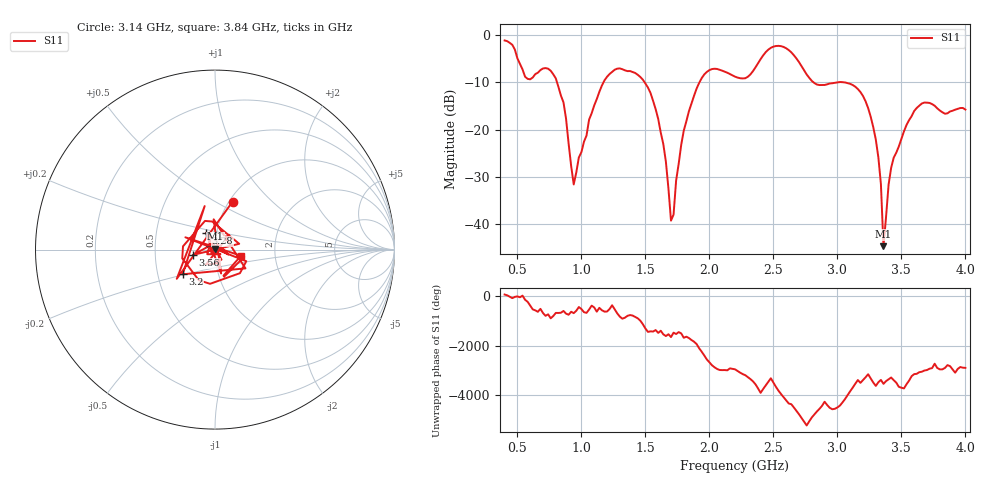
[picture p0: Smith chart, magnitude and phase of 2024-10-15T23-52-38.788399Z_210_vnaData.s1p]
! Created with skrf (http://scikit-rf.org).
# Hz S RI R 50.0
!freq ReS11 ImS11
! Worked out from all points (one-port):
!   181 points, 400 MHz to 4 GHz, reference 50 ohm
!   lowest |S11| = -44.6 dB at 3.36 GHz (marker M1), VSWR 1.01, Z = 50.3 + j0.529 ohm
!   |S11| at or under -10 dB: 809.4 MHz to 1.173 GHz (363.5 MHz wide, 36.7 % of centre); 1.493 GHz to 1.923 GHz (429.1 MHz wide, 25.1 % of centre); 3.047 GHz to end of sweep (the widest 3 of 4)
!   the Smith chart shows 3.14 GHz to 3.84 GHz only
!   S11 on the Smith chart (normalised r, x): 3.14 GHz: 1.04, +0.60; 3.2 GHz: 0.67, -0.19; 3.28 GHz: 0.89, +0.17; 3.56 GHz: 0.78, -0.05; 3.84 GHz: 1.33, -0.10
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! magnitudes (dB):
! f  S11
! 400 MHz  -1.2
! 580 MHz  -9.3
! 760 MHz  -7.6
! 860 MHz  -14.2
! 940 MHz  -31.6
! 1.14 GHz  -12.0
! 1.3 GHz  -7.1
! 1.54 GHz  -12.3
! 1.64 GHz  -23.1
! 1.7 GHz  -39.2
! 1.76 GHz  -27.2
! 1.84 GHz  -16.1
! 1.94 GHz  -9.1
! 2.2 GHz  -8.8
! 2.5 GHz  -2.5
! 2.66 GHz  -4.3
! 2.84 GHz  -10.5
! 3.1 GHz  -10.3
! 3.14 GHz  -10.9
! 3.2 GHz  -12.9
! 3.28 GHz  -19.5
! 3.34 GHz  -31.5
! 3.36 GHz  -44.6
! 3.42 GHz  -28.1
! 3.56 GHz  -18.0
! 3.68 GHz  -14.3
! 3.84 GHz  -16.6
! 4 GHz  -15.8
